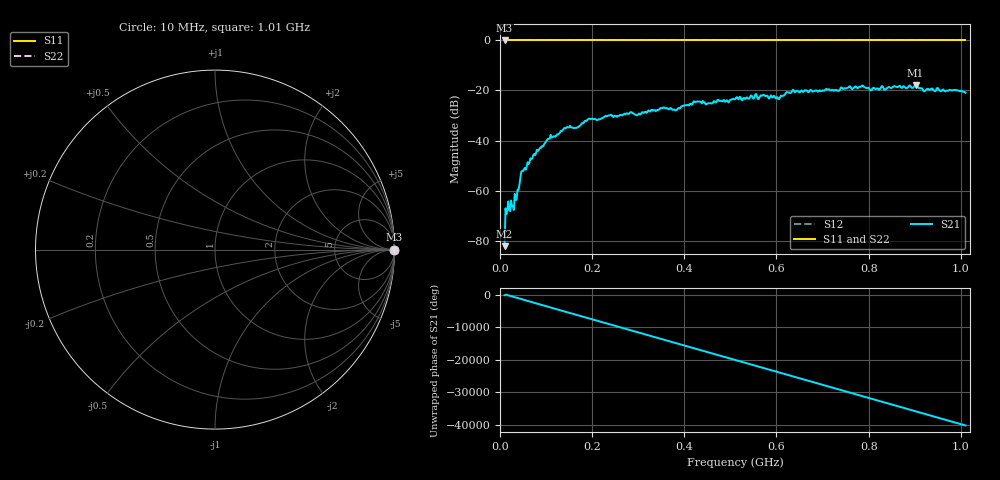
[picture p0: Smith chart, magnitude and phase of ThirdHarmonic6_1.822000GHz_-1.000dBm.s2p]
! 8/16/2025 10:04:50 PM
! C:\ANRITSUVNA\TEMP\TEMP.S2P
! CHANNEL.1
! TR.MEASUREMENT
! RAW.DATA
! RF.CORRECTION.OFF
! AVERAGING.OFF
! IF.BANDWIDTH: 5KHZ
! SWEEPTYPE:  FREQ.SWEEP(Linear)
! Reference Plane Port Info
! PORT:  PORT1  PORT2
! DISTANCE:  0  m  0  m
! TIME:  0  s  0  s
! PHASE.OFFSET:  0  deg.  0  deg.
! LOSS:  0  dB  0  dB
! REF.LOSS:  0  dB  0  dB
! REF.FREQ:  0  Hz  0  Hz
! Power Info
! POWER:  -20  dBm  -20  dBm
! EFF.POWER:  -20  dBm  -20  dBm
! SOURCE.ATTEN:  0  dB  0  dB
! TEST.ATTEN:  0  dB  0  dB
# GHZ S RI R 50.0
! FREQ.GHZ  S11RE  S11IM  S21RE  S21IM  S12RE  S12IM  S22RE  S22IM
!; PortSelection: Port_12
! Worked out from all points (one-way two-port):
!   501 points, 10 MHz to 1.01 GHz, reference 50 ohm
!   highest |S21| = -17.83 dB at 902 MHz (marker M1); lowest = -82.2 dB at 10 MHz (marker M2)
!   lowest |S11| = 0.0 dB at 10 MHz (marker M3)
!   |S11| at or under -10 dB: nowhere
!   |S22| runs from 0.0 to 0.0 dB; largest |S21 - S12| = 1.1
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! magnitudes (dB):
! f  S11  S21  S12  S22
! 10 MHz  0.0  -82.2  0.0  0.0
! 16 MHz  0.0  -67.4  0.0  0.0
! 32 MHz  0.0  -61.4  0.0  0.0
! 48 MHz  0.0  -52.1  0.0  0.0
! 70 MHz  0.0  -47.1  0.0  0.0
! 106 MHz  0.0  -39.3  0.0  0.0
! 142 MHz  0.0  -35.1  0.0  0.0
! 178 MHz  0.0  -33.1  0.0  0.0
! 194 MHz  0.0  -31.2  0.0  0.0
! 344 MHz  0.0  -27.8  0.0  0.0
! 380 MHz  0.0  -27.9  0.0  0.0
! 424 MHz  0.0  -24.7  0.0  0.0
! 450 MHz  0.0  -25.2  0.0  0.0
! 510 MHz  0.0  -23.5  0.0  0.0
! 570 MHz  0.0  -21.9  0.0  0.0
! 602 MHz  0.0  -22.6  0.0  0.0
! 638 MHz  0.0  -20.1  0.0  0.0
! 678 MHz  0.0  -20.4  0.0  0.0
! 844 MHz  0.0  -18.5  0.0  0.0
! 902 MHz  0.0  -17.8  0.0  0.0
! 922 MHz  0.0  -20.2  0.0  0.0
! 1.01 GHz  0.0  -20.9  0.0  0.0
